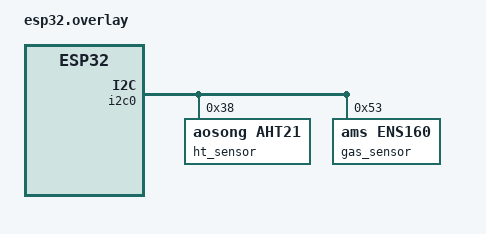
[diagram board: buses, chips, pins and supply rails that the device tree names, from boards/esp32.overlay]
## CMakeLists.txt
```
#-------------------------------------------------------------------------------
# ENS160+ATH2x Board Sample
#
# Copyright (c) 2022 Russ Webber
# SPDX-License-Identifier: Apache-2.0

cmake_minimum_required(VERSION 3.13.1)
find_package(Zephyr REQUIRED HINTS $ENV{ZEPHYR_BASE})

project(ens160_ath2x_board LANGUAGES C)

target_sources(app PRIVATE src/main.c)
```

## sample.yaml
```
sample:
  name: ENS160+ATH2x Board Sample
tests:
  sample.sensor.ens160_ath2x_board:
    harness: console
    tags: sensors
    depends_on: i2c
    # harness_config:
    #     type: one_line
    #     regex:
    #         - "temp: (.*); press: (.*);"
    #     fixture: fixture_i2c_dps310
```

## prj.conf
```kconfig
# Copyright (c) 2022 Russ Webber
# SPDX-License-Identifier: Apache-2.0
#
# This file contains selected Kconfig options for the application.

CONFIG_SENSOR=y
CONFIG_I2C=y
CONFIG_LOG=y
CONFIG_SENSOR_LOG_LEVEL_DBG=y
# CONFIG_ENS160_ATH2X_BOARD_LOG_LEVEL_DBG=y
```

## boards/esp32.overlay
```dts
/*
 * Copyright (c) 2022 Russ Webber
 * SPDX-License-Identifier: Apache-2.0
 */

// #include <zephyr/drivers/sensor.h>

/* these cannot be included as it currently stands */
#define SENSOR_CHAN_HUMIDITY 16
#define SENSOR_CHAN_AMBIENT_TEMP 13

&i2c0 {
	ht_sensor: aht21@38 {
		compatible = "aosong,aht21";
		reg = <0x38>;
	};
	gas_sensor: ens160@53 {
		compatible = "ams,ens160";
		reg = <0x53>;
		humidity-source = <&ht_sensor>;
		temperature-source = <&ht_sensor>;

		// humidity-sources = <&ht_sensor SENSOR_CHAN_HUMIDITY>;
		// temperature-sources = <&ht_sensor SENSOR_CHAN_AMBIENT_TEMP>;

		// sources = <&ht_sensor SENSOR_CHAN_HUMIDITY>, <&ht_sensor SENSOR_CHAN_AMBIENT_TEMP>;
		// sources-names = "HUMIDITY", "TEMPERATURE";
	};
};
```

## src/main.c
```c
/*
 * Copyright (c) 2023 Russ Webber
 * SPDX-License-Identifier: Apache-2.0
 */

#include <zephyr/kernel.h>
#include <zephyr/drivers/sensor.h>
#include <zephyr/sys/__assert.h>
#include <zephyr/logging/log.h>

LOG_MODULE_REGISTER(app);

static struct sensor_value temperature;
static struct sensor_value humidity;

// void calibrate(const struct device *gas_sensor) {
// 	int ret;
// 	ret = sensor_attr_set(gas_sensor, SENSOR_CHAN_HUMIDITY, SENSOR_ATTR_CALIBRATION, &humidity);
// 	if (ret < 0) {
// 		LOG_ERR("Could not set the humidity calibration channel on %s - error %d", gas_sensor->name, ret);
// 	}

// 	ret = sensor_attr_set(gas_sensor, SENSOR_CHAN_AMBIENT_TEMP, SENSOR_ATTR_CALIBRATION, &temperature);
// 	if (ret < 0) {
// 		LOG_ERR("Could not set the temperature calibration channel on %s - error %d", gas_sensor->name, ret);
// 	}
// }

void main(void)
{
	int ret;
	const struct device *gas_sensor;
	const struct device *ht_sensor;

	LOG_INF("ENS160+AHT2x board sample started");

	// gas_sensor = DEVICE_DT_GET_ANY(ams_ens160);
	gas_sensor = DEVICE_DT_GET(DT_NODELABEL(gas_sensor));
	if (!device_is_ready(gas_sensor)) {
		LOG_ERR("Air quality sensor %s not ready", gas_sensor->name);
		return;
	}

	ht_sensor = DEVICE_DT_GET(DT_NODELABEL(ht_sensor));
	if (!device_is_ready(ht_sensor)) {
		LOG_ERR("Humidity and Temp sensor %s not ready", ht_sensor->name);
		return;
	}

	while (1) {
		struct sensor_value val;

		ret = sensor_sample_fetch(gas_sensor);
		if (ret < 0) {
			LOG_ERR("%s - could not fetch sample (%d)", gas_sensor->name, ret);
			return;
		}

		ret = sensor_sample_fetch(ht_sensor);
		if (ret < 0) {
			LOG_ERR("%s - could not fetch sample (%d)", ht_sensor->name, ret);
			return;
		}

		ret = sensor_channel_get(ht_sensor, SENSOR_CHAN_HUMIDITY, &val);
		if (ret < 0) {
			LOG_ERR("Could not get SENSOR_CHAN_HUMIDITY channel (%d)", ret);
		} else {
			LOG_INF("Relative Humidity (%%): %d.%06d", val.val1, val.val2);
			humidity = val;
		}

		ret = sensor_channel_get(ht_sensor, SENSOR_CHAN_AMBIENT_TEMP, &val);
		if (ret < 0) {
			LOG_ERR("Could not get SENSOR_CHAN_AMBIENT_TEMP channel (%d)", ret);
		} else {
			LOG_INF("Temperature (C): %d.%06d", val.val1, val.val2);
			temperature = val;
		}

		// calibrate(gas_sensor);
	
		ret = sensor_channel_get(gas_sensor, SENSOR_CHAN_AIR_QUALITY_INDEX, &val);
		if (ret < 0) {
			LOG_ERR("Could not get SENSOR_CHAN_AIR_QUALITY_INDEX channel (%d)", ret);
		} else {
			LOG_INF("Air Quality Index: %d", val.val1);
		}

		ret = sensor_channel_get(gas_sensor, SENSOR_CHAN_CO2, &val);
		if (ret < 0) {
			LOG_ERR("Could not get SENSOR_CHAN_CO2 channel (%d)", ret);
		} else {
			LOG_INF("Equivalent CO2 (ppm): %d", val.val1);
		}

		ret = sensor_channel_get(gas_sensor, SENSOR_CHAN_VOC, &val);
		if (ret < 0) {
			LOG_ERR("Could not get SENSOR_CHAN_VOC channel (%d)", ret);
		} else {
			LOG_INF("TVOC (ppb): %d", val.val1);
		}

		k_msleep(2000);
	}
}
```
